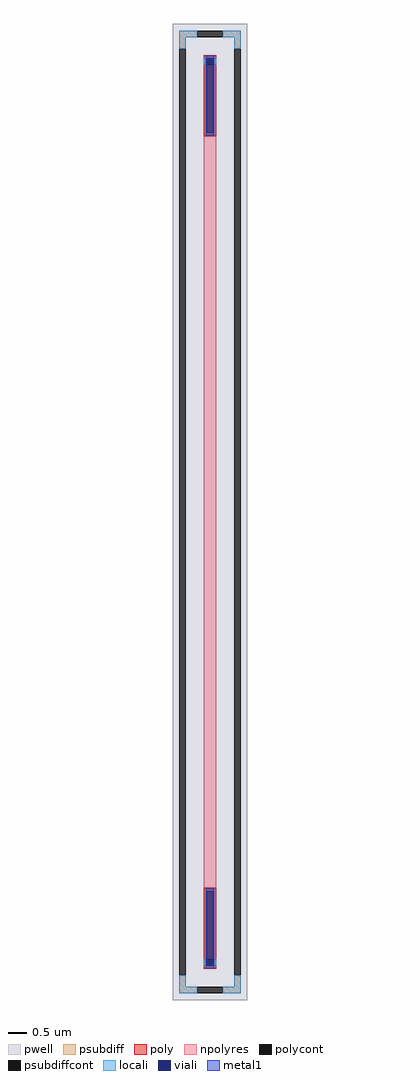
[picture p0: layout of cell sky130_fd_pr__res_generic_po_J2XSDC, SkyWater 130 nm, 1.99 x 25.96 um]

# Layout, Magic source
magic
tech sky130A
magscale 1 2
<< pwell >>
rect -199 -2596 199 2596
<< psubdiff >>
rect -163 2526 -67 2560
rect 67 2526 163 2560
rect -163 2464 -129 2526
rect 129 2464 163 2526
rect -163 -2526 -129 -2464
rect 129 -2526 163 -2464
rect -163 -2560 -67 -2526
rect 67 -2560 163 -2526
<< psubdiffcont >>
rect -67 2526 67 2560
rect -163 -2464 -129 2464
rect 129 -2464 163 2464
rect -67 -2560 67 -2526
<< poly >>
rect -33 2414 33 2430
rect -33 2380 -17 2414
rect 17 2380 33 2414
rect -33 2000 33 2380
rect -33 -2380 33 -2000
rect -33 -2414 -17 -2380
rect 17 -2414 33 -2380
rect -33 -2430 33 -2414
<< polycont >>
rect -17 2380 17 2414
rect -17 -2414 17 -2380
<< npolyres >>
rect -33 -2000 33 2000
<< locali >>
rect -163 2526 -67 2560
rect 67 2526 163 2560
rect -163 2464 -129 2526
rect 129 2464 163 2526
rect -33 2380 -17 2414
rect 17 2380 33 2414
rect -33 -2414 -17 -2380
rect 17 -2414 33 -2380
rect -163 -2526 -129 -2464
rect 129 -2526 163 -2464
rect -163 -2560 -67 -2526
rect 67 -2560 163 -2526
<< viali >>
rect -17 2380 17 2414
rect -17 2017 17 2380
rect -17 -2380 17 -2017
rect -17 -2414 17 -2380
<< metal1 >>
rect -23 2414 23 2426
rect -23 2017 -17 2414
rect 17 2017 23 2414
rect -23 2005 23 2017
rect -23 -2017 23 -2005
rect -23 -2414 -17 -2017
rect 17 -2414 23 -2017
rect -23 -2426 23 -2414
<< properties >>
string FIXED_BBOX -146 -2543 146 2543
string gencell sky130_fd_pr__res_generic_po
string library sky130
string parameters w 0.330 l 20 m 1 nx 1 wmin 0.330 lmin 1.650 rho 48.2 val 2.921k dummy 0 dw 0.0 term 0.0 sterm 0.0 caplen 0.4 snake 0 guard 1 glc 1 grc 1 gtc 1 gbc 1 roverlap 0 endcov 100 full_metal 1 hv_guard 0 n_guard 0 vias 1 viagb 0 viagt 0 viagl 0 viagr 0
<< end >>
